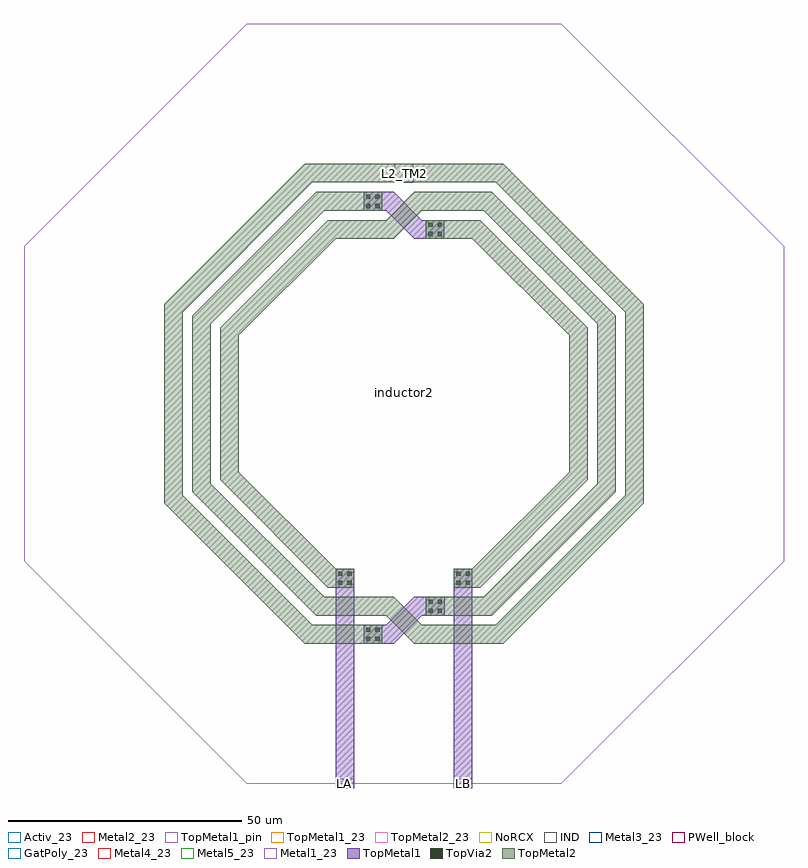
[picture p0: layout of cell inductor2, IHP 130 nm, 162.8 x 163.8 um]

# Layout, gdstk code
import gdstk
lib = gdstk.Library(unit=1e-6, precision=1e-09)
def R(c, l, rs):  # rectangles x0, y0, x1, y1
    for r in rs: c.add(gdstk.rectangle(r[:2], r[2:], *l))
def P(c, l, *ps):  # polygons
    for p in ps: c.add(gdstk.Polygon(p, *l))
Activ_23 = (1, 23)
GatPoly_23 = (5, 23)
Metal1_23 = (8, 23)
Metal2_23 = (10, 23)
IND = (27, 0)
Metal3_23 = (30, 23)
PWell_block = (46, 21)
Metal4_23 = (50, 23)
Metal5_23 = (67, 23)
TopMetal1 = (126, 0)
TopMetal1_pin = (126, 2)
TopMetal1_23 = (126, 23)
TopVia2 = (133, 0)
TopMetal2 = (134, 0)
TopMetal2_23 = (134, 23)
NoRCX = (148, 0)

inductor2 = lib.new_cell('inductor2')
P(inductor2, Activ_23, [(-33.715,0),(-81.398,47.682),(-81.398,115.113),(-33.715,162.795),(33.715,162.795),(81.398,115.113),(81.398,47.682),(33.715,0)])
P(inductor2, GatPoly_23, [(-33.715,0),(-81.398,47.682),(-81.398,115.113),(-33.715,162.795),(33.715,162.795),(81.398,115.113),(81.398,47.682),(33.715,0)])
P(inductor2, Metal1_23, [(-33.715,0),(-81.398,47.682),(-81.398,115.113),(-33.715,162.795),(33.715,162.795),(81.398,115.113),(81.398,47.682),(33.715,0)])
P(inductor2, Metal2_23, [(-33.715,0),(-81.398,47.682),(-81.398,115.113),(-33.715,162.795),(33.715,162.795),(81.398,115.113),(81.398,47.682),(33.715,0)])
R(inductor2, IND, [(-2.01,128.765,2.01,132.785)])
P(inductor2, Metal3_23, [(-33.715,0),(-81.398,47.682),(-81.398,115.113),(-33.715,162.795),(33.715,162.795),(81.398,115.113),(81.398,47.682),(33.715,0)])
P(inductor2, PWell_block, [(-33.715,0),(-81.398,47.682),(-81.398,115.113),(-33.715,162.795),(33.715,162.795),(81.398,115.113),(81.398,47.682),(33.715,0)])
P(inductor2, Metal4_23, [(-33.715,0),(-81.398,47.682),(-81.398,115.113),(-33.715,162.795),(33.715,162.795),(81.398,115.113),(81.398,47.682),(33.715,0)])
P(inductor2, Metal5_23, [(-33.715,0),(-81.398,47.682),(-81.398,115.113),(-33.715,162.795),(33.715,162.795),(81.398,115.113),(81.398,47.682),(33.715,0)])
P(inductor2, TopMetal1, [(2.195,116.735),(-3.825,122.755),(-8.67,122.755),(-8.67,126.755),(-2.195,126.755),(3.825,120.735),(8.67,120.735),(8.67,116.735)],
  [(-8.67,30),(-8.67,34),(-3.835,34),(2.165,40),(8.68,40),(8.68,36),(3.825,36),(-2.175,30)])
R(inductor2, TopMetal1_pin, [(-14.67,-1,-10.67,1), (10.67,-1,14.67,1)])
P(inductor2, TopMetal1_23, [(-33.715,0),(-81.398,47.682),(-81.398,115.113),(-33.715,162.795),(33.715,162.795),(81.398,115.113),(81.398,47.682),(33.715,0)])
R(inductor2, TopVia2, [(-8.1,30.57,-7.2,31.47), (-6.14,30.57,-5.24,31.47), (-8.1,32.53,-7.2,33.43), (-6.14,32.53,-5.24,33.43), (5.25,36.57,6.15,37.47), (7.21,36.57,8.11,37.47), (5.25,38.53,6.15,39.43), (7.21,38.53,8.11,39.43), (-14.1,42.57,-13.2,43.47), (-12.14,42.57,-11.24,43.47), (11.24,42.57,12.14,43.47), (13.2,42.57,14.1,43.47), (-14.1,44.53,-13.2,45.43), (-12.14,44.53,-11.24,45.43), (11.24,44.53,12.14,45.43), (13.2,44.53,14.1,45.43), (5.24,117.305,6.14,118.205), (7.2,117.305,8.1,118.205), (5.24,119.265,6.14,120.165), (7.2,119.265,8.1,120.165), (-8.1,123.305,-7.2,124.205), (-6.14,123.305,-5.24,124.205), (-8.1,125.265,-7.2,126.165), (-6.14,125.265,-5.24,126.165)])
R(inductor2, TopMetal2, [(-4.67,128.775,4.67,132.775)])
P(inductor2, TopMetal2, [(10.67,42),(10.67,46),(14.645,46),(35.368,66.723),(35.368,96.012),(14.645,116.735),(4.67,116.735),(4.67,120.735),(16.31,120.735),(39.368,97.678),(39.368,65.057),(16.31,42)],
  [(-16.31,42),(-39.368,65.057),(-39.368,97.678),(-16.31,120.735),(-4.67,120.735),(-4.67,116.735),(-14.645,116.735),(-35.368,96.012),(-35.368,66.723),(-14.645,46),(-10.67,46),(-10.67,42)],
  [(-4.67,116.735),(-4.67,120.735),(-3.825,120.735),(2.195,126.755),(4.67,126.755),(4.67,122.755),(3.855,122.755),(-2.165,116.735)],
  [(4.67,36),(4.67,40),(17.135,40),(41.378,64.242),(41.378,98.512),(17.135,122.755),(4.67,122.755),(4.67,126.755),(18.8,126.755),(45.378,100.178),(45.378,62.577),(18.8,36)],
  [(-18.8,36),(-45.378,62.577),(-45.378,100.178),(-18.8,126.755),(-4.67,126.755),(-4.67,122.755),(-17.135,122.755),(-41.378,98.512),(-41.378,64.242),(-17.135,40),(-4.67,40),(-4.67,36)],
  [(4.67,30),(4.67,34),(19.625,34),(47.387,61.762),(47.387,101.012),(19.625,128.775),(4.67,128.775),(4.67,132.775),(21.29,132.775),(51.387,102.678),(51.387,60.098),(21.29,30)],
  [(-21.29,30),(-51.387,60.098),(-51.387,102.678),(-21.29,132.775),(-4.67,132.775),(-4.67,128.775),(-19.625,128.775),(-47.387,101.012),(-47.387,61.762),(-19.625,34),(-4.67,34),(-4.67,30)],
  [(2.175,30),(-3.825,36),(-4.67,36),(-4.67,40),(-2.165,40),(3.835,34),(4.67,34),(4.67,30)])
P(inductor2, TopMetal2_23, [(-33.715,0),(-81.398,47.682),(-81.398,115.113),(-33.715,162.795),(33.715,162.795),(81.398,115.113),(81.398,47.682),(33.715,0)])
P(inductor2, NoRCX, [(-33.715,0),(-81.398,47.682),(-81.398,115.113),(-33.715,162.795),(33.715,162.795),(81.398,115.113),(81.398,47.682),(33.715,0)])
inductor2.add(gdstk.FlexPath([(12.67,-1),(12.67,46)], 4, ends="flush", simple_path=True, layer=126, datatype=0))  # TopMetal1
inductor2.add(gdstk.FlexPath([(-12.67,-1),(-12.67,46)], 4, ends="flush", simple_path=True, layer=126, datatype=0))  # TopMetal1
inductor2.add(gdstk.Label('L2_TM2', (0,130.775), layer=63, texttype=0))
inductor2.add(gdstk.Label('l=3n', (0,132.108), layer=63, texttype=0))
inductor2.add(gdstk.Label('r=1m', (0,129.442), layer=63, texttype=0))
inductor2.add(gdstk.Label('LB', (12.67,0), layer=63, texttype=0))
inductor2.add(gdstk.Label('LA', (-12.67,0), layer=63, texttype=0))
inductor2.add(gdstk.Label('inductor2', (0,83.871), layer=63, texttype=0))

lib.write_gds('inductor2.gds')
